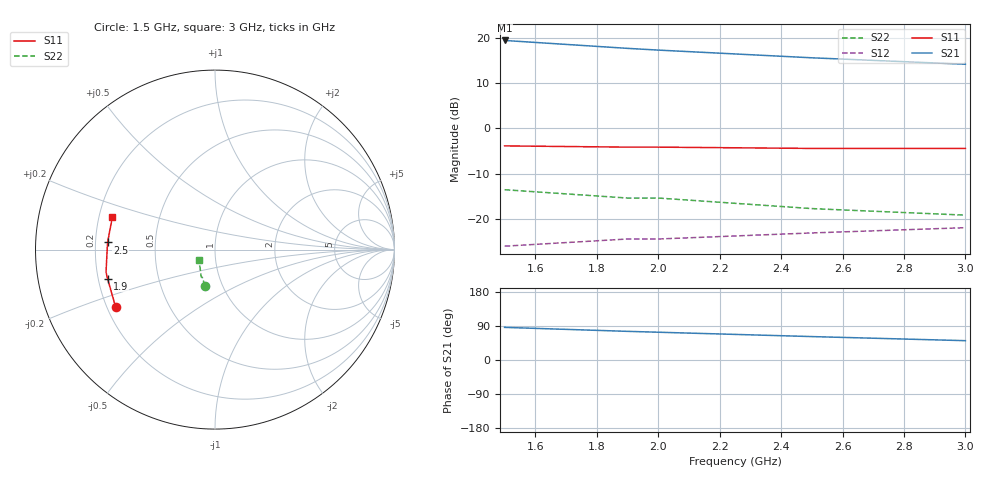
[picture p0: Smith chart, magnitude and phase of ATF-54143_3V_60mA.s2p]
! ATF-54143 E-pHEMT, VDS = 3 V, ID = 60 mA, transcribed from the Broadcom (Avago) data sheet tables
! Reference planes at the ends of the leads, 0.025 in alumina carrier, 4 source vias
! Excerpt of five frequencies for Book 4, Chapter 48; use the full vendor file for design work
# GHz S MA R 50
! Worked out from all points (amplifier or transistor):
!   5 points, 1.5 GHz to 3 GHz, reference 50 ohm
!   highest |S21| = 19.4 dB at 1.5 GHz (marker M1)
!   |S21| within 3 dB of that: start of sweep to 2.256 GHz
!   unconditionally stable (mu >= 1): nowhere
!   at 1.5 GHz: K = 0.71, MSG = 22.7 dB, |S12| = -26.0 dB
!   at 2 GHz: K = 0.81, MSG = 20.9 dB, |S12| = -24.4 dB
!   at 3 GHz: K = 0.95, MSG = 18.0 dB, |S12| = -21.9 dB
!   lowest NFmin = 0.42 dB at 1.9 GHz
!   S11 on the Smith chart (normalised r, x): 1.5 GHz: 0.23, -0.26; 1.9 GHz: 0.24, -0.13; 2.5 GHz: 0.25, +0.03; 3 GHz: 0.26, +0.15
1.5  0.64 -149.8  9.34 86.1  0.05 36.1  0.21 -105.2
1.9  0.62 -164.9  7.64 75.6  0.06 33.8  0.17 -114.7
2  0.62 -168.3  7.31 73.3  0.06 33.3  0.17 -117.0
2.5  0.6 176.2  6.01 61.8  0.07 30.1  0.13 -129.7
3  0.6 162.3  5.1 51.0  0.08 26.5  0.11 -146.5
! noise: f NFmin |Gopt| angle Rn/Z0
1.9  0.42  0.27  116.3  0.04
2  0.45  0.27  120.1  0.04
2.4  0.52  0.26  145.8  0.04
3  0.59  0.29  178  0.05
